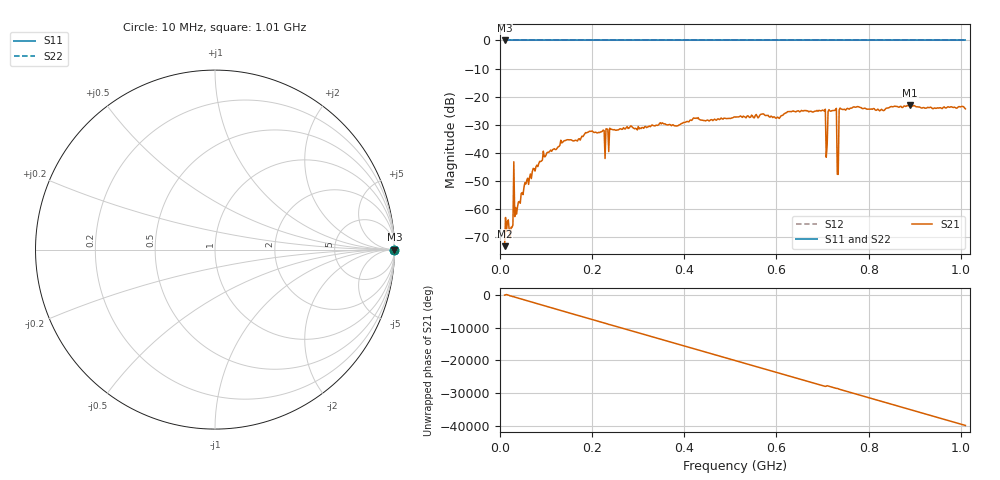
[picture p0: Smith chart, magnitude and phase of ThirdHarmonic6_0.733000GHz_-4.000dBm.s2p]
! 8/16/2025 12:30:55 AM
! C:\ANRITSUVNA\TEMP\TEMP.S2P
! CHANNEL.1
! TR.MEASUREMENT
! RAW.DATA
! RF.CORRECTION.OFF
! AVERAGING.OFF
! IF.BANDWIDTH: 5KHZ
! SWEEPTYPE:  FREQ.SWEEP(Linear)
! Reference Plane Port Info
! PORT:  PORT1  PORT2
! DISTANCE:  0  m  0  m
! TIME:  0  s  0  s
! PHASE.OFFSET:  0  deg.  0  deg.
! LOSS:  0  dB  0  dB
! REF.LOSS:  0  dB  0  dB
! REF.FREQ:  0  Hz  0  Hz
! Power Info
! POWER:  -20  dBm  -20  dBm
! EFF.POWER:  -20  dBm  -20  dBm
! SOURCE.ATTEN:  0  dB  0  dB
! TEST.ATTEN:  0  dB  0  dB
# GHZ S RI R 50.0
! FREQ.GHZ  S11RE  S11IM  S21RE  S21IM  S12RE  S12IM  S22RE  S22IM
!; PortSelection: Port_12
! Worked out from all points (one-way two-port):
!   501 points, 10 MHz to 1.01 GHz, reference 50 ohm
!   highest |S21| = -23.08 dB at 890 MHz (marker M1); lowest = -73.4 dB at 10 MHz (marker M2)
!   lowest |S11| = 0.0 dB at 10 MHz (marker M3)
!   |S11| at or under -10 dB: nowhere
!   |S22| runs from 0.0 to 0.0 dB; largest |S21 - S12| = 1.1
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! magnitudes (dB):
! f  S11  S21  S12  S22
! 10 MHz  0.0  -73.4  0.0  0.0
! 16 MHz  0.0  -64.7  0.0  0.0
! 24 MHz  0.0  -66.6  0.0  0.0
! 34 MHz  0.0  -59.6  0.0  0.0
! 36 MHz  0.0  -61.9  0.0  0.0
! 56 MHz  0.0  -51.2  0.0  0.0
! 90 MHz  0.0  -43.0  0.0  0.0
! 178 MHz  0.0  -34.1  0.0  0.0
! 344 MHz  0.0  -30.1  0.0  0.0
! 510 MHz  0.0  -27.2  0.0  0.0
! 678 MHz  0.0  -25.5  0.0  0.0
! 702 MHz  0.0  -25.0  0.0  0.0
! 706 MHz  0.0  -24.5  0.0  0.0
! 712 MHz  0.0  -25.3  0.0  0.0
! 716 MHz  0.0  -25.1  0.0  0.0
! 726 MHz  0.0  -25.0  0.0  0.0
! 730 MHz  0.0  -24.2  0.0  0.0
! 736 MHz  0.0  -24.8  0.0  0.0
! 740 MHz  0.0  -24.4  0.0  0.0
! 844 MHz  0.0  -24.0  0.0  0.0
! 890 MHz  0.0  -23.1  0.0  0.0
! 1.01 GHz  0.0  -24.4  0.0  0.0
